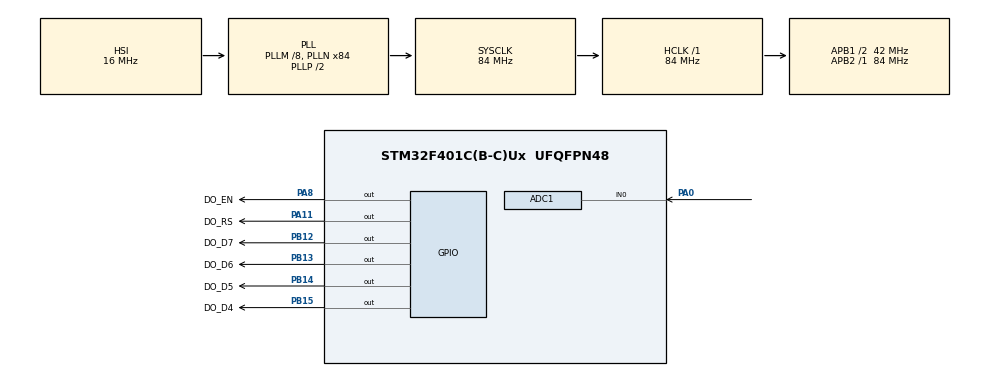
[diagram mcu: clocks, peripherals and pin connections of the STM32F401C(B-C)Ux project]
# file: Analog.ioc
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ADC1.Channel-1\#ChannelRegularConversion=ADC_CHANNEL_0
ADC1.ContinuousConvMode=ENABLE
ADC1.InjNumberOfConversion=0
ADC1.NbrOfConversionFlag=1
ADC1.Rank-1\#ChannelRegularConversion=1
ADC1.SamplingTime-1\#ChannelRegularConversion=ADC_SAMPLETIME_3CYCLES
ADC1.master=1
Mcu.Family=STM32F4
Mcu.Name=STM32F401C(B-C)Ux
Mcu.Package=UFQFPN48
NVIC.PriorityGroup=NVIC_PRIORITYGROUP_4
PA0-WKUP.Signal=ADCx_IN0
PA11.GPIO_Label=DO_RS
PA11.Signal=GPIO_Output
PA13.Mode=Serial_Wire
PA13.Signal=SYS_JTMS-SWDIO
PA14.Mode=Serial_Wire
PA14.Signal=SYS_JTCK-SWCLK
PA8.GPIO_Label=DO_EN
PA8.Signal=GPIO_Output
PB12.GPIO_Label=DO_D7
PB12.Signal=GPIO_Output
PB13.GPIO_Label=DO_D6
PB13.Signal=GPIO_Output
PB14.GPIO_Label=DO_D5
PB14.Signal=GPIO_Output
PB15.GPIO_Label=DO_D4
PB15.Signal=GPIO_Output
PH0\ -\ OSC_IN.Mode=HSE-External-Oscillator
PH0\ -\ OSC_IN.Signal=RCC_OSC_IN
PH1\ -\ OSC_OUT.Mode=HSE-External-Oscillator
PH1\ -\ OSC_OUT.Signal=RCC_OSC_OUT
ProjectManager.HeapSize=0x200
ProjectManager.StackSize=0x400
ProjectManager.TargetToolchain=STM32CubeIDE
RCC.48MHZClocksFreq_Value=42000000
RCC.AHBFreq_Value=84000000
RCC.APB1CLKDivider=RCC_HCLK_DIV2
RCC.APB1Freq_Value=42000000
RCC.APB1TimFreq_Value=84000000
RCC.APB2Freq_Value=84000000
RCC.APB2TimFreq_Value=84000000
RCC.CortexFreq_Value=84000000
RCC.HCLKFreq_Value=84000000
RCC.HSE_VALUE=25000000
RCC.HSI_VALUE=16000000
RCC.LSE_VALUE=32768
RCC.PLLM=8
RCC.PLLN=84
RCC.SYSCLKFreq_VALUE=84000000
RCC.SYSCLKSource=RCC_SYSCLKSOURCE_PLLCLK
RCC.VCOOutputFreq_Value=168000000
SH.ADCx_IN0.0=ADC1_IN0,IN0
TIM1.AutoReloadPreload=TIM_AUTORELOAD_PRELOAD_DISABLE
TIM1.Prescaler=71
VP_TIM1_VS_ClockSourceINT.Mode=Internal
board=custom

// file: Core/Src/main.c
/* USER CODE BEGIN Header */
/**
  ******************************************************************************
  * @file           : main.c
  * @brief          : Main program body
  ******************************************************************************
  * @attention
  *
  * Copyright (c) 2024 STMicroelectronics.
  * All rights reserved.
  *
  * This software is licensed under terms that can be found in the LICENSE file
  * in the root directory of this software component.
  * If no LICENSE file comes with this software, it is provided AS-IS.
  *
  ******************************************************************************
  */
/* USER CODE END Header */
#include "main.h"

/* USER CODE BEGIN Includes */
#include "LCD1602.h"
/* USER CODE END Includes */

ADC_HandleTypeDef hadc1;

TIM_HandleTypeDef htim1;

void SystemClock_Config(void);
static void MX_GPIO_Init(void);
static void MX_TIM1_Init(void);
static void MX_ADC1_Init(void);

int main(void)
{

  /* MCU Configuration--------------------------------------------------------*/

  /* Reset of all peripherals, Initializes the Flash interface and the Systick. */
  HAL_Init();

  /* Configure the system clock */
  SystemClock_Config();

  /* Initialize all configured peripherals */
  MX_GPIO_Init();
  MX_TIM1_Init();
  MX_ADC1_Init();
  /* USER CODE BEGIN 2 */
  HAL_TIM_Base_Start(&htim1);

  lcd_init ();
  lcd_clear();
  lcd_put_cur(0, 0);
  lcd_send_string("   Panda+ Kit   ");
  lcd_put_cur(1, 0);
  lcd_send_string("Volt(PA0)=     V");
  uint16_t W_W;
  uint16_t W_W1;
  uint16_t W_W2;
  uint16_t W_W_old=0;
  uint16_t W_W1_old=0;
  uint16_t W_W2_old=0;
  /* USER CODE END 2 */

  /* Infinite loop */
  /* USER CODE BEGIN WHILE */
  while (1)
  {

		W_W=HAL_ADC_GetValue(&hadc1);
		W_W2 = W_W;
		W_W=((W_W*3300)/4095)/100;

		W_W1=W_W%10;
		W_W=W_W/10;
		if ((W_W_old != W_W) && (W_W1_old != W_W1) && (W_W2_old != W_W2))
		{
			W_W_old = W_W;
			W_W1_old = W_W1;
			W_W2_old = W_W2;
		lcd_put_cur(1, 11);
		lcd_send_data(W_W+48);
		lcd_send_data('.');
		lcd_send_data(W_W1+48);
		}

		HAL_Delay(200);

    /* USER CODE END WHILE */

  }
}

void SystemClock_Config(void)
{
  RCC_OscInitTypeDef RCC_OscInitStruct = {0};
  RCC_ClkInitTypeDef RCC_ClkInitStruct = {0};

  /** Configure the main internal regulator output voltage
  */
  __HAL_RCC_PWR_CLK_ENABLE();
  __HAL_PWR_VOLTAGESCALING_CONFIG(PWR_REGULATOR_VOLTAGE_SCALE2);
  /** Initializes the RCC Oscillators according to the specified parameters
  * in the RCC_OscInitTypeDef structure.
  */
  RCC_OscInitStruct.OscillatorType = RCC_OSCILLATORTYPE_HSI;
  RCC_OscInitStruct.HSIState = RCC_HSI_ON;
  RCC_OscInitStruct.HSICalibrationValue = RCC_HSICALIBRATION_DEFAULT;
  RCC_OscInitStruct.PLL.PLLState = RCC_PLL_ON;
  RCC_OscInitStruct.PLL.PLLSource = RCC_PLLSOURCE_HSI;
  RCC_OscInitStruct.PLL.PLLM = 8;
  RCC_OscInitStruct.PLL.PLLN = 84;
  RCC_OscInitStruct.PLL.PLLP = RCC_PLLP_DIV2;
  RCC_OscInitStruct.PLL.PLLQ = 4;
  if (HAL_RCC_OscConfig(&RCC_OscInitStruct) != HAL_OK)
  {
    Error_Handler();
  }
  /** Initializes the CPU, AHB and APB buses clocks
  */
  RCC_ClkInitStruct.ClockType = RCC_CLOCKTYPE_HCLK|RCC_CLOCKTYPE_SYSCLK
                              |RCC_CLOCKTYPE_PCLK1|RCC_CLOCKTYPE_PCLK2;
  RCC_ClkInitStruct.SYSCLKSource = RCC_SYSCLKSOURCE_PLLCLK;
  RCC_ClkInitStruct.AHBCLKDivider = RCC_SYSCLK_DIV1;
  RCC_ClkInitStruct.APB1CLKDivider = RCC_HCLK_DIV2;
  RCC_ClkInitStruct.APB2CLKDivider = RCC_HCLK_DIV1;

  if (HAL_RCC_ClockConfig(&RCC_ClkInitStruct, FLASH_LATENCY_2) != HAL_OK)
  {
    Error_Handler();
  }
}

static void MX_ADC1_Init(void)
{
	ADC_ChannelConfTypeDef sConfig = {0};
	hadc1.Instance = ADC1;
	//hadc1.Init.ScanConvMode = ADC_SCAN_DISABLE;
	hadc1.Init.ContinuousConvMode = ENABLE;
	hadc1.Init.DiscontinuousConvMode = DISABLE;
	hadc1.Init.ExternalTrigConv = ADC_SOFTWARE_START;
	hadc1.Init.DataAlign = ADC_DATAALIGN_RIGHT;
	hadc1.Init.NbrOfConversion = 1;
	if (HAL_ADC_Init(&hadc1) != HAL_OK)
	{
	Error_Handler();
	}
	sConfig.Channel = ADC_CHANNEL_0;
	//sConfig.Rank = ADC_REGULAR_RANK_1;
	//sConfig.SamplingTime = ADC_SAMPLETIME_1CYCLE_5;
	if (HAL_ADC_ConfigChannel(&hadc1, &sConfig) != HAL_OK)
	{
	Error_Handler();
	}
	/* USER CODE BEGIN ADC1_Init 2 */
	HAL_ADC_Start(&hadc1);
	/* USER CODE END ADC1_Init 2 */
}

static void MX_TIM1_Init(void)
{

  TIM_ClockConfigTypeDef sClockSourceConfig = {0};
  TIM_MasterConfigTypeDef sMasterConfig = {0};

  htim1.Instance = TIM1;
  htim1.Init.Prescaler = 71;
  htim1.Init.CounterMode = TIM_COUNTERMODE_UP;
  htim1.Init.Period = 65535;
  htim1.Init.ClockDivision = TIM_CLOCKDIVISION_DIV1;
  htim1.Init.RepetitionCounter = 0;
  htim1.Init.AutoReloadPreload = TIM_AUTORELOAD_PRELOAD_DISABLE;
  if (HAL_TIM_Base_Init(&htim1) != HAL_OK)
  {
    Error_Handler();
  }
  sClockSourceConfig.ClockSource = TIM_CLOCKSOURCE_INTERNAL;
  if (HAL_TIM_ConfigClockSource(&htim1, &sClockSourceConfig) != HAL_OK)
  {
    Error_Handler();
  }
  sMasterConfig.MasterOutputTrigger = TIM_TRGO_RESET;
  sMasterConfig.MasterSlaveMode = TIM_MASTERSLAVEMODE_DISABLE;
  if (HAL_TIMEx_MasterConfigSynchronization(&htim1, &sMasterConfig) != HAL_OK)
  {
    Error_Handler();
  }

}

static void MX_GPIO_Init(void)
{
  GPIO_InitTypeDef GPIO_InitStruct = {0};

  /* GPIO Ports Clock Enable */
  __HAL_RCC_GPIOH_CLK_ENABLE();
  __HAL_RCC_GPIOA_CLK_ENABLE();
  __HAL_RCC_GPIOB_CLK_ENABLE();

  /*Configure GPIO pin Output Level */
  HAL_GPIO_WritePin(GPIOB, DO_D7_Pin|DO_D6_Pin|DO_D5_Pin|DO_D4_Pin, GPIO_PIN_RESET);

  /*Configure GPIO pin Output Level */
  HAL_GPIO_WritePin(GPIOA, DO_EN_Pin|DO_RS_Pin, GPIO_PIN_RESET);

  /*Configure GPIO pins : DO_D7_Pin DO_D6_Pin DO_D5_Pin DO_D4_Pin */
  GPIO_InitStruct.Pin = DO_D7_Pin|DO_D6_Pin|DO_D5_Pin|DO_D4_Pin;
  GPIO_InitStruct.Mode = GPIO_MODE_OUTPUT_PP;
  GPIO_InitStruct.Pull = GPIO_NOPULL;
  GPIO_InitStruct.Speed = GPIO_SPEED_FREQ_LOW;
  HAL_GPIO_Init(GPIOB, &GPIO_InitStruct);

  /*Configure GPIO pins : DO_EN_Pin DO_RS_Pin */
  GPIO_InitStruct.Pin = DO_EN_Pin|DO_RS_Pin;
  GPIO_InitStruct.Mode = GPIO_MODE_OUTPUT_PP;
  GPIO_InitStruct.Pull = GPIO_NOPULL;
  GPIO_InitStruct.Speed = GPIO_SPEED_FREQ_LOW;
  HAL_GPIO_Init(GPIOA, &GPIO_InitStruct);

}

void Error_Handler(void)
{
  __disable_irq();
  while (1)
  {
  }
}
